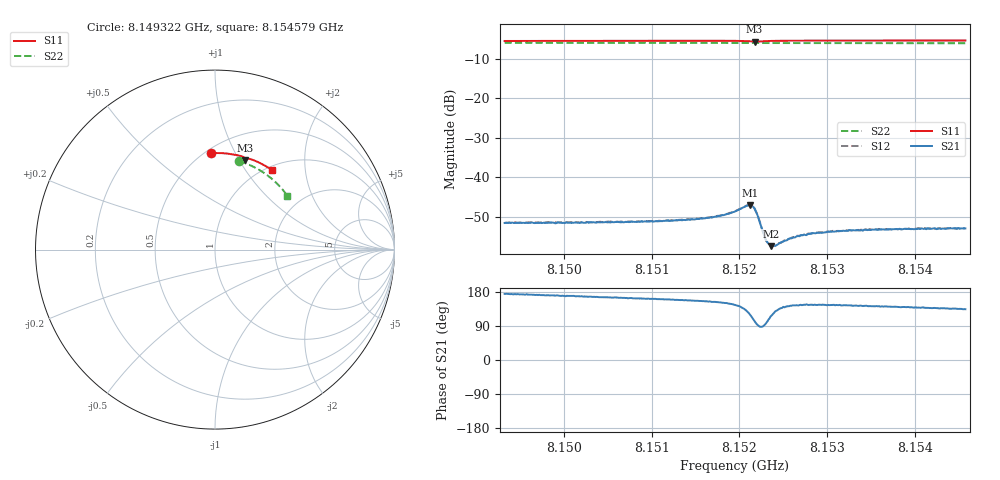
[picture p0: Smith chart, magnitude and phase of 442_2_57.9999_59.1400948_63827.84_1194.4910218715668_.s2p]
#  HZ  S  RI  R  50.00
! Rohde & Schwarz Vector Network Analyzer
! Rohde-Schwarz,ZNB20-2Port,1311601062101988,3.16
! Created: UTC 3/21/2024, 1:10:06 AM
! freq[Hz]  re:S11  im:S11  re:S21  im:S21  re:S12  im:S12  re:S22  im:S22
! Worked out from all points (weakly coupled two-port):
!   401 points, 8.149322 GHz to 8.154579 GHz, reference 50 ohm
!   highest |S21| = -47.14 dB at 8.152121 GHz (marker M1); lowest = -57.5 dB at 8.152358 GHz (marker M2)
!   lowest |S11| = -5.6 dB at 8.152174 GHz (marker M3), VSWR 3.23, Z = 38.4 + j53.1 ohm
!   |S11| at or under -10 dB: nowhere
!   |S22| runs from -6.0 to -5.8 dB; largest |S21 - S12| = 0.00011
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8.1493215e9  -0.0226 0.5367  -0.0026 0.000252  -0.00263 0.000298  0.1363 0.4919
8.1502022e9  0.0388 0.5372  -0.00262 0.000539  -0.0026 0.000599  0.1898 0.4728
8.1510829e9  0.1 0.5308  -0.00259 0.000925  -0.00263 0.00095  0.2404 0.4477
8.1516349e9  0.1387 0.5226  -0.00275 0.0013  -0.00276 0.00134  0.2704 0.4291
8.1518452e9  0.154 0.5179  -0.00292 0.00166  -0.0029 0.00171  0.2814 0.4215
8.1519504e9  0.162 0.5142  -0.00302 0.00209  -0.003 0.00215  0.2868 0.4176
8.1520818e9  0.1708 0.5058  -0.00276 0.00331  -0.00279 0.00336  0.2935 0.4121
8.1521213e9  0.1712 0.5023  -0.00219 0.00381  -0.00214 0.00389  0.2954 0.4109
8.1521476e9  0.1702 0.5003  -0.00156 0.004  -0.00152 0.00402  0.2966 0.4098
8.1521738e9  0.1684 0.4996  -0.00086 0.00387  -0.000818 0.00394  0.2977 0.4089
8.1522133e9  0.1668 0.5015  -7.81e-05 0.00315  -3.57e-05 0.0032  0.2996 0.4073
8.152279e9  0.1695 0.5062  -2.06e-05 0.00186  2e-05 0.00187  0.3031 0.4052
8.1523053e9  0.1718 0.5073  -0.000196 0.00156  -0.000186 0.00155  0.3044 0.4041
8.1523316e9  0.1742 0.5079  -0.000402 0.00137  -0.000362 0.00135  0.3057 0.4031
8.1523579e9  0.1766 0.5081  -0.000571 0.0012  -0.00053 0.00123  0.307 0.4021
8.1524104e9  0.1811 0.508  -0.000833 0.00105  -0.000812 0.00108  0.3096 0.4001
8.1524893e9  0.1877 0.507  -0.00111 0.00101  -0.00113 0.000997  0.3136 0.3969
8.1526339e9  0.1984 0.504  -0.00139 0.001  -0.00139 0.00103  0.3206 0.3909
8.1528311e9  0.2121 0.4993  -0.0016 0.00109  -0.0016 0.00111  0.33 0.3826
8.1532123e9  0.2371 0.4888  -0.00169 0.00121  -0.00168 0.00126  0.3475 0.366
8.1537117e9  0.2685 0.4733  -0.00169 0.00137  -0.00168 0.00138  0.369 0.3431
8.1545793e9  0.3195 0.4419  -0.00155 0.00161  -0.00158 0.0016  0.4026 0.3004
